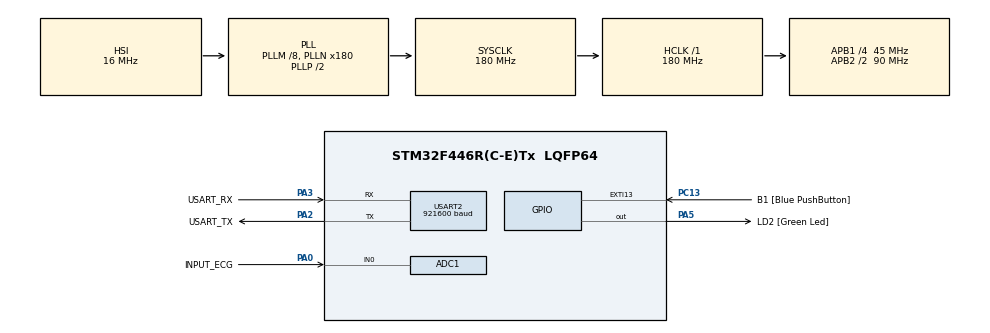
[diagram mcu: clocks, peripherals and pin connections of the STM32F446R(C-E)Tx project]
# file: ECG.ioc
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ADC1.Channel-0\#ChannelRegularConversion=ADC_CHANNEL_0
ADC1.DMAContinuousRequests=ENABLE
ADC1.ExternalTrigConv=ADC_EXTERNALTRIGCONV_T2_TRGO
ADC1.NbrOfConversionFlag=1
ADC1.Rank-0\#ChannelRegularConversion=1
ADC1.SamplingTime-0\#ChannelRegularConversion=ADC_SAMPLETIME_3CYCLES
ADC1.master=1
Dma.ADC1.0.Direction=DMA_PERIPH_TO_MEMORY
Dma.ADC1.0.FIFOMode=DMA_FIFOMODE_DISABLE
Dma.ADC1.0.Instance=DMA2_Stream0
Dma.ADC1.0.MemDataAlignment=DMA_MDATAALIGN_HALFWORD
Dma.ADC1.0.MemInc=DMA_MINC_ENABLE
Dma.ADC1.0.Mode=DMA_CIRCULAR
Dma.ADC1.0.PeriphDataAlignment=DMA_PDATAALIGN_HALFWORD
Dma.ADC1.0.PeriphInc=DMA_PINC_DISABLE
Dma.ADC1.0.Priority=DMA_PRIORITY_LOW
Dma.Request0=ADC1
FREERTOS.Tasks01=ECG_Task,24,1024,ECG_Task_func,Default,NULL,Dynamic,NULL,NULL
FREERTOS.configMINIMAL_STACK_SIZE=256
Mcu.Family=STM32F4
Mcu.Name=STM32F446R(C-E)Tx
Mcu.Package=LQFP64
NVIC.DMA2_Stream0_IRQn=true\:5\:0\:false\:false\:true\:true\:false\:true\:true
NVIC.PriorityGroup=NVIC_PRIORITYGROUP_4
NVIC.TIM6_DAC_IRQn=true\:15\:0\:false\:false\:true\:false\:false\:true\:true
NVIC.TimeBase=TIM6_DAC_IRQn
NVIC.TimeBaseIP=TIM6
PA0-WKUP.GPIO_Label=INPUT_ECG
PA0-WKUP.Signal=ADCx_IN0
PA13.GPIO_Label=TMS
PA13.Mode=Serial_Wire
PA13.Signal=SYS_JTMS-SWDIO
PA14.GPIO_Label=TCK
PA14.Mode=Serial_Wire
PA14.Signal=SYS_JTCK-SWCLK
PA2.GPIO_Label=USART_TX
PA2.Mode=Asynchronous
PA2.Signal=USART2_TX
PA3.GPIO_Label=USART_RX
PA3.Mode=Asynchronous
PA3.Signal=USART2_RX
PA5.GPIO_Label=LD2 [Green Led]
PA5.Signal=GPIO_Output
PB3.GPIO_Label=SWO
PB3.Signal=SYS_JTDO-SWO
PC13.GPIO_Label=B1 [Blue PushButton]
PC13.GPIO_ModeDefaultEXTI=GPIO_MODE_IT_FALLING
PC13.Signal=GPXTI13
PC14-OSC32_IN.Mode=LSE-External-Oscillator
PC14-OSC32_IN.Signal=RCC_OSC32_IN
PC15-OSC32_OUT.Mode=LSE-External-Oscillator
PC15-OSC32_OUT.Signal=RCC_OSC32_OUT
PH0-OSC_IN.Mode=HSE-External-Oscillator
PH0-OSC_IN.Signal=RCC_OSC_IN
PH1-OSC_OUT.Mode=HSE-External-Oscillator
PH1-OSC_OUT.Signal=RCC_OSC_OUT
ProjectManager.HeapSize=0x200
ProjectManager.StackSize=0x400
ProjectManager.TargetToolchain=Makefile
RCC.48MHZClocksFreq_Value=84000000
RCC.AHBFreq_Value=180000000
RCC.APB1CLKDivider=RCC_HCLK_DIV4
RCC.APB1Freq_Value=45000000
RCC.APB1TimFreq_Value=90000000
RCC.APB2CLKDivider=RCC_HCLK_DIV2
RCC.APB2Freq_Value=90000000
RCC.APB2TimFreq_Value=180000000
RCC.CortexFreq_Value=180000000
RCC.FLatency-AdvancedSettings=FLASH_LATENCY_5
RCC.HCLKFreq_Value=180000000
RCC.HSE_VALUE=8000000
RCC.HSI_VALUE=16000000
RCC.PLLM=8
RCC.PLLN=180
RCC.SYSCLKFreq_VALUE=180000000
RCC.SYSCLKSource=RCC_SYSCLKSOURCE_PLLCLK
RCC.USBFreq_Value=180000000
RCC.VCOOutputFreq_Value=360000000
SH.ADCx_IN0.0=ADC1_IN0,IN0
TIM2.AutoReloadPreload=TIM_AUTORELOAD_PRELOAD_ENABLE
TIM2.Period=999
TIM2.Prescaler=89
TIM2.TIM_MasterOutputTrigger=TIM_TRGO_UPDATE
USART2.BaudRate=921600
USART2.VirtualMode=VM_ASYNC
VP_FREERTOS_VS_CMSIS_V2.Mode=CMSIS_V2
VP_SYS_VS_tim6.Mode=TIM6
VP_TIM2_VS_ClockSourceINT.Mode=Internal
board=NUCLEO-F446RE

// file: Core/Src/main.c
/* USER CODE BEGIN Header */
/**
  ******************************************************************************
  * @file           : main.c
  * @brief          : Main program body
  ******************************************************************************
  * @attention
  *
  * Copyright (c) 2026 STMicroelectronics.
  * All rights reserved.
  *
  * This software is licensed under terms that can be found in the LICENSE file
  * in the root directory of this software component.
  * If no LICENSE file comes with this software, it is provided AS-IS.
  *
  ******************************************************************************
  */
/* USER CODE END Header */
#include "main.h"
#include "cmsis_os.h"
#include "adc.h"
#include "dma.h"
#include "tim.h"
#include "usart.h"
#include "gpio.h"

/* USER CODE BEGIN PV */
extern uint16_t ECG_Buffer[256];
/* USER CODE END PV */

void SystemClock_Config(void);
void MX_FREERTOS_Init(void);

int main(void)
{

  /* MCU Configuration--------------------------------------------------------*/

  /* Reset of all peripherals, Initializes the Flash interface and the Systick. */
  HAL_Init();

  /* Configure the system clock */
  SystemClock_Config();

  /* Initialize all configured peripherals */
  MX_GPIO_Init();
  MX_DMA_Init();
  MX_ADC1_Init();
  MX_USART2_UART_Init();
  MX_TIM2_Init();
  /* USER CODE BEGIN 2 */
  HAL_TIM_Base_Start(&htim2); // Start TIM2 in interrupt mode to trigger ADC conversions at regular intervals
  HAL_ADC_Start_DMA(&hadc1, (uint32_t*)ECG_Buffer, 256); // Start ADC in DMA mode to fill the ECG_Buffer with 256 samples
  /* USER CODE END 2 */

  /* Init scheduler */
  osKernelInitialize();  /* Call init function for freertos objects (in cmsis_os2.c) */
  MX_FREERTOS_Init();

  /* Start scheduler */
  osKernelStart();

  /* We should never get here as control is now taken by the scheduler */

  /* Infinite loop */
  while (1)
  {

  }
}

void SystemClock_Config(void)
{
  RCC_OscInitTypeDef RCC_OscInitStruct = {0};
  RCC_ClkInitTypeDef RCC_ClkInitStruct = {0};

  /** Configure the main internal regulator output voltage
  */
  __HAL_RCC_PWR_CLK_ENABLE();
  __HAL_PWR_VOLTAGESCALING_CONFIG(PWR_REGULATOR_VOLTAGE_SCALE1);

  /** Initializes the RCC Oscillators according to the specified parameters
  * in the RCC_OscInitTypeDef structure.
  */
  RCC_OscInitStruct.OscillatorType = RCC_OSCILLATORTYPE_HSI;
  RCC_OscInitStruct.HSIState = RCC_HSI_ON;
  RCC_OscInitStruct.HSICalibrationValue = RCC_HSICALIBRATION_DEFAULT;
  RCC_OscInitStruct.PLL.PLLState = RCC_PLL_ON;
  RCC_OscInitStruct.PLL.PLLSource = RCC_PLLSOURCE_HSI;
  RCC_OscInitStruct.PLL.PLLM = 8;
  RCC_OscInitStruct.PLL.PLLN = 180;
  RCC_OscInitStruct.PLL.PLLP = RCC_PLLP_DIV2;
  RCC_OscInitStruct.PLL.PLLQ = 2;
  RCC_OscInitStruct.PLL.PLLR = 2;
  if (HAL_RCC_OscConfig(&RCC_OscInitStruct) != HAL_OK)
  {
    Error_Handler();
  }

  /** Activate the Over-Drive mode
  */
  if (HAL_PWREx_EnableOverDrive() != HAL_OK)
  {
    Error_Handler();
  }

  /** Initializes the CPU, AHB and APB buses clocks
  */
  RCC_ClkInitStruct.ClockType = RCC_CLOCKTYPE_HCLK|RCC_CLOCKTYPE_SYSCLK
                              |RCC_CLOCKTYPE_PCLK1|RCC_CLOCKTYPE_PCLK2;
  RCC_ClkInitStruct.SYSCLKSource = RCC_SYSCLKSOURCE_PLLCLK;
  RCC_ClkInitStruct.AHBCLKDivider = RCC_SYSCLK_DIV1;
  RCC_ClkInitStruct.APB1CLKDivider = RCC_HCLK_DIV4;
  RCC_ClkInitStruct.APB2CLKDivider = RCC_HCLK_DIV2;

  if (HAL_RCC_ClockConfig(&RCC_ClkInitStruct, FLASH_LATENCY_5) != HAL_OK)
  {
    Error_Handler();
  }
}

void HAL_TIM_PeriodElapsedCallback(TIM_HandleTypeDef *htim)
{
  if (htim->Instance == TIM6)
  {
    HAL_IncTick();
  }
}

void Error_Handler(void)
{
  __disable_irq();
  while (1)
  {
  }
}

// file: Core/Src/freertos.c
/* USER CODE BEGIN Header */
/**
  ******************************************************************************
  * File Name          : freertos.c
  * Description        : Code for freertos applications
  ******************************************************************************
  * @attention
  *
  * Copyright (c) 2026 STMicroelectronics.
  * All rights reserved.
  *
  * This software is licensed under terms that can be found in the LICENSE file
  * in the root directory of this software component.
  * If no LICENSE file comes with this software, it is provided AS-IS.
  *
  ******************************************************************************
  */
/* USER CODE END Header */

#include "FreeRTOS.h"
#include "task.h"
#include "main.h"
#include "cmsis_os.h"

/* USER CODE BEGIN Includes */
#include "adc.h"
#include "usart.h"
#include <stdio.h>
#include <string.h>
#include <math.h>
/* USER CODE END Includes */

/* USER CODE BEGIN Variables */
uint16_t ECG_Buffer[256];
uint8_t ECG_Half = 0; // 0  => First half of the buffer is filled, 1 => Second half of the buffer is filled
char tx_buf[100]; // Buffer for UART transmission
/* USER CODE END Variables */
/* Definitions for ECG_Task */
osThreadId_t ECG_TaskHandle;
const osThreadAttr_t ECG_Task_attributes = {
  .name = "ECG_Task",
  .stack_size = 1024 * 4,
  .priority = (osPriority_t) osPriorityNormal,
};

/* USER CODE BEGIN FunctionPrototypes */
float notch_filter(float x);
float hpf_filter(float x);
float lpf_filter(float x);
/* USER CODE END FunctionPrototypes */

void ECG_Task_func(void *argument);

void MX_FREERTOS_Init(void); /* (MISRA C 2004 rule 8.1) */

void MX_FREERTOS_Init(void) {

  /* Create the thread(s) */
  /* creation of ECG_Task */
  ECG_TaskHandle = osThreadNew(ECG_Task_func, NULL, &ECG_Task_attributes);

}

void ECG_Task_func(void *argument)
{
  /* USER CODE BEGIN ECG_Task_func */
  /* Infinite loop */
  uint16_t start_index;
  char tx_buf[10];

  for(;;)
  {
    ulTaskNotifyTake(pdTRUE, portMAX_DELAY);

    start_index = (ECG_Half == 0) ? 0 : 128;

    for(int i = start_index; i < start_index + 128; i++)
    {
      float sample = (float)ECG_Buffer[i]; // Convert ADC value to float for filtering
      float hp = hpf_filter(sample); // Apply the high-pass filter
      float filtered_sample = notch_filter(hp); // Apply the notch filter to the high-pass filtered signal
      float final_sample = lpf_filter(filtered_sample) + 2048.0f; // Apply the low-pass filter to the notch filtered signal
      uint16_t output_value = (uint16_t)fmaxf(0.0f, fminf(4095.0f, final_sample)); // Convert back to uint16_t for transmission
      sprintf(tx_buf, "%u\r\n", output_value); // Format the output value as a string
      HAL_UART_Transmit(&huart2, (uint8_t*)tx_buf, strlen(tx_buf), HAL_MAX_DELAY);
    }
  }
  /* USER CODE END ECG_Task_func */
}

/* USER CODE BEGIN Application */
void HAL_ADC_ConvHalfCpltCallback(ADC_HandleTypeDef* hadc)
{
  if(hadc->Instance == ADC1)
  {
    ECG_Half = 0; // First half of the buffer is filled
    BaseType_t xHigherPriorityTaskWoken = pdFALSE; // Variable to check if a context switch is needed
    vTaskNotifyGiveFromISR(ECG_TaskHandle, &xHigherPriorityTaskWoken); // Notify the ECG_Task that the first half of the buffer is filled
    portYIELD_FROM_ISR(xHigherPriorityTaskWoken); // Request a context switch if needed
  }
}

void HAL_ADC_ConvCpltCallback(ADC_HandleTypeDef* hadc)
{
  if(hadc->Instance == ADC1)
  {
    ECG_Half = 1; // Second half of the buffer is filled
    BaseType_t xHigherPriorityTaskWoken = pdFALSE; // Variable to check if a context switch is needed
    vTaskNotifyGiveFromISR(ECG_TaskHandle, &xHigherPriorityTaskWoken); // Notify the ECG_Task that the second half of the buffer is filled
    portYIELD_FROM_ISR(xHigherPriorityTaskWoken); // Request a context switch if needed
  }
}

/*Notch Filter function
Input function for the notch filter : y[n] = b[0]*x[n] - b[1]*x[n-1] + b[2]*x[n-2] - a[1]*y[n-1] - a[2]*y[n-2]*/
float notch_filter(float x)
{
  // Coefficients for a 60 Hz notch filter with a sampling frequency of 1000 Hz, BW = 20 Hz
  static const float b0 = 1.0000f;
  static const float b1 = -1.8596f;
  static const float b2 = 1.0000f;
  static const float a1 = -1.7428f;
  static const float a2 = 0.8783f;

  // Static variables to hold previous input and output values
  static float x1 = 0.0f, x2 = 0.0f; // Previous two input samples
  static float y1 = 0.0f, y2 = 0.0f; // Previous two output samples

  // Compute the output value
  float y = b0 * x + b1 * x1 + b2 * x2 - a1 * y1 - a2 * y2;

  // Update the previous values
  x2 = x1;
  x1 = x;
  y2 = y1;
  y1 = y;

  return y;
}
/* Digital HPF
Cut-off Frequency at .5Hz
y[n] = a* (y[n-1] + x[n] - x[n-1])*/
float hpf_filter(float x)
{
  static const float a = 0.9969f; // Coefficient for the high-pass filter
  static float x_prev = 0.0f; // Previous input sample
  static float y_prev = 0.0f; // Previous output sample

  // Compute the output value
  float y = a * (y_prev + x - x_prev);

  // Update the previous values
  x_prev = x;
  y_prev = y;

  return y;
}

/* Digital LPF
Cut off frequency at 40Hz, fs = 1000hz
y[n] = a * x[n] + (1 - a) * y[n-1]*/
float lpf_filter(float x)
{
  static const float a = 0.2010f; // Coefficient for the low-pass filter
  static float y_prev = 0.0f; // Previous output sample

  // Compute the output value
  float y = a * x + (1 - a) * y_prev;

  // Update the previous value
  y_prev = y;

  return y;
}

/* USER CODE END Application */
